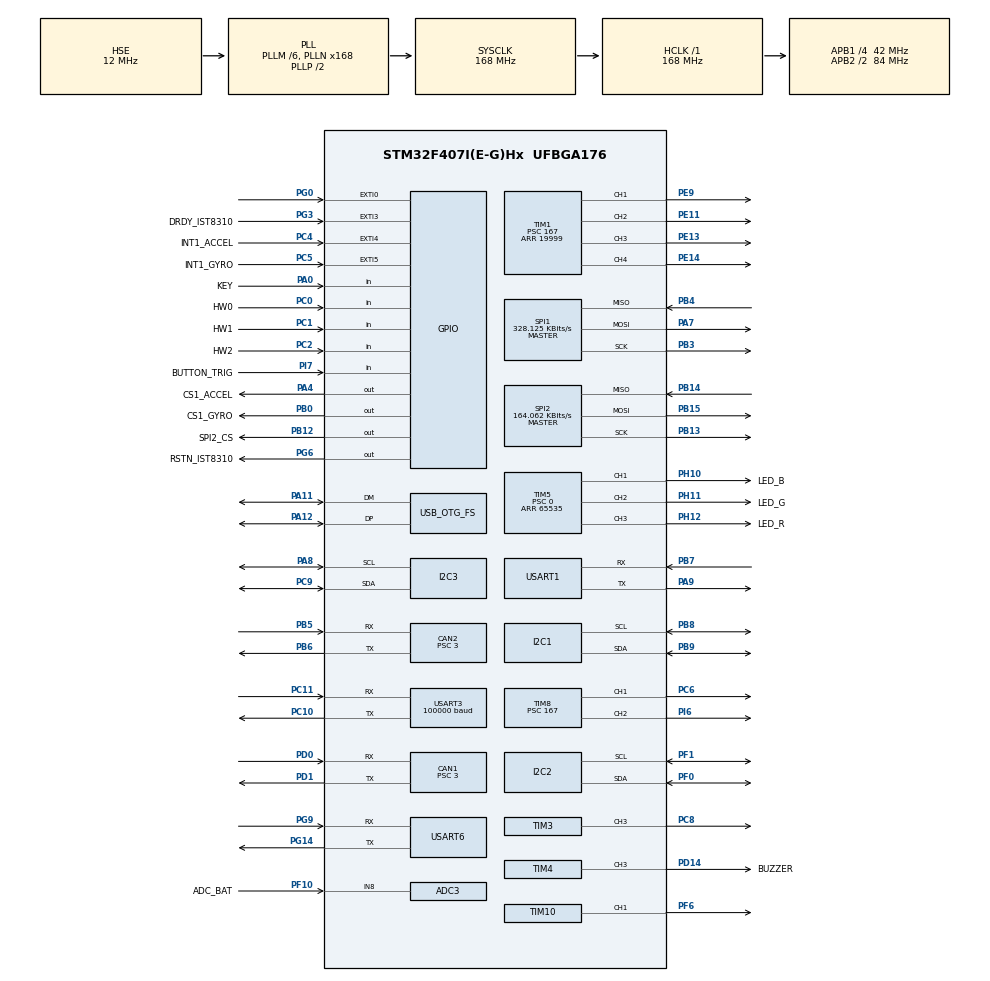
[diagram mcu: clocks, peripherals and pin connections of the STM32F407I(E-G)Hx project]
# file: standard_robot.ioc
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ADC1.Channel-0\#ChannelRegularConversion=ADC_CHANNEL_TEMPSENSOR
ADC1.ClockPrescaler=ADC_CLOCK_SYNC_PCLK_DIV6
ADC1.NbrOfConversionFlag=1
ADC1.Rank-0\#ChannelRegularConversion=1
ADC1.SamplingTime-0\#ChannelRegularConversion=ADC_SAMPLETIME_3CYCLES
ADC1.master=1
ADC3.Channel-0\#ChannelRegularConversion=ADC_CHANNEL_8
ADC3.ClockPrescaler=ADC_CLOCK_SYNC_PCLK_DIV6
ADC3.NbrOfConversionFlag=1
ADC3.Rank-0\#ChannelRegularConversion=1
ADC3.SamplingTime-0\#ChannelRegularConversion=ADC_SAMPLETIME_3CYCLES
CAN1.BS1=CAN_BS1_10TQ
CAN1.BS2=CAN_BS2_3TQ
CAN1.CalculateTimeQuantum=71.42857142857143
CAN1.Prescaler=3
CAN2.BS1=CAN_BS1_10TQ
CAN2.BS2=CAN_BS2_3TQ
CAN2.CalculateTimeQuantum=71.42857142857143
CAN2.Prescaler=3
Dma.I2C2_TX.2.Direction=DMA_MEMORY_TO_PERIPH
Dma.I2C2_TX.2.FIFOMode=DMA_FIFOMODE_DISABLE
Dma.I2C2_TX.2.Instance=DMA1_Stream7
Dma.I2C2_TX.2.MemDataAlignment=DMA_MDATAALIGN_BYTE
Dma.I2C2_TX.2.MemInc=DMA_MINC_ENABLE
Dma.I2C2_TX.2.Mode=DMA_NORMAL
Dma.I2C2_TX.2.PeriphDataAlignment=DMA_PDATAALIGN_BYTE
Dma.I2C2_TX.2.PeriphInc=DMA_PINC_DISABLE
Dma.I2C2_TX.2.Priority=DMA_PRIORITY_HIGH
Dma.Request0=SPI1_RX
Dma.Request1=SPI1_TX
Dma.Request2=I2C2_TX
Dma.Request3=USART3_RX
Dma.Request4=USART6_RX
Dma.Request5=USART6_TX
Dma.Request6=USART1_TX
Dma.Request7=USART1_RX
Dma.SPI1_RX.0.Direction=DMA_PERIPH_TO_MEMORY
Dma.SPI1_RX.0.FIFOMode=DMA_FIFOMODE_DISABLE
Dma.SPI1_RX.0.Instance=DMA2_Stream2
Dma.SPI1_RX.0.MemDataAlignment=DMA_MDATAALIGN_BYTE
Dma.SPI1_RX.0.MemInc=DMA_MINC_ENABLE
Dma.SPI1_RX.0.Mode=DMA_NORMAL
Dma.SPI1_RX.0.PeriphDataAlignment=DMA_PDATAALIGN_BYTE
Dma.SPI1_RX.0.PeriphInc=DMA_PINC_DISABLE
Dma.SPI1_RX.0.Priority=DMA_PRIORITY_VERY_HIGH
Dma.SPI1_TX.1.Direction=DMA_MEMORY_TO_PERIPH
Dma.SPI1_TX.1.FIFOMode=DMA_FIFOMODE_DISABLE
Dma.SPI1_TX.1.Instance=DMA2_Stream3
Dma.SPI1_TX.1.MemDataAlignment=DMA_MDATAALIGN_BYTE
Dma.SPI1_TX.1.MemInc=DMA_MINC_ENABLE
Dma.SPI1_TX.1.Mode=DMA_NORMAL
Dma.SPI1_TX.1.PeriphDataAlignment=DMA_PDATAALIGN_BYTE
Dma.SPI1_TX.1.PeriphInc=DMA_PINC_DISABLE
Dma.SPI1_TX.1.Priority=DMA_PRIORITY_HIGH
Dma.USART1_RX.7.Direction=DMA_PERIPH_TO_MEMORY
Dma.USART1_RX.7.FIFOMode=DMA_FIFOMODE_DISABLE
Dma.USART1_RX.7.Instance=DMA2_Stream5
Dma.USART1_RX.7.MemDataAlignment=DMA_MDATAALIGN_BYTE
Dma.USART1_RX.7.MemInc=DMA_MINC_ENABLE
Dma.USART1_RX.7.Mode=DMA_NORMAL
Dma.USART1_RX.7.PeriphDataAlignment=DMA_PDATAALIGN_BYTE
Dma.USART1_RX.7.PeriphInc=DMA_PINC_DISABLE
Dma.USART1_RX.7.Priority=DMA_PRIORITY_LOW
Dma.USART1_TX.6.Direction=DMA_MEMORY_TO_PERIPH
Dma.USART1_TX.6.FIFOMode=DMA_FIFOMODE_DISABLE
Dma.USART1_TX.6.Instance=DMA2_Stream7
Dma.USART1_TX.6.MemDataAlignment=DMA_MDATAALIGN_BYTE
Dma.USART1_TX.6.MemInc=DMA_MINC_ENABLE
Dma.USART1_TX.6.Mode=DMA_NORMAL
Dma.USART1_TX.6.PeriphDataAlignment=DMA_PDATAALIGN_BYTE
Dma.USART1_TX.6.PeriphInc=DMA_PINC_DISABLE
Dma.USART1_TX.6.Priority=DMA_PRIORITY_MEDIUM
Dma.USART3_RX.3.Direction=DMA_PERIPH_TO_MEMORY
Dma.USART3_RX.3.FIFOMode=DMA_FIFOMODE_DISABLE
Dma.USART3_RX.3.Instance=DMA1_Stream1
Dma.USART3_RX.3.MemDataAlignment=DMA_MDATAALIGN_BYTE
Dma.USART3_RX.3.MemInc=DMA_MINC_ENABLE
Dma.USART3_RX.3.Mode=DMA_NORMAL
Dma.USART3_RX.3.PeriphDataAlignment=DMA_PDATAALIGN_BYTE
Dma.USART3_RX.3.PeriphInc=DMA_PINC_DISABLE
Dma.USART3_RX.3.Priority=DMA_PRIORITY_HIGH
Dma.USART6_RX.4.Direction=DMA_PERIPH_TO_MEMORY
Dma.USART6_RX.4.FIFOMode=DMA_FIFOMODE_DISABLE
Dma.USART6_RX.4.Instance=DMA2_Stream1
Dma.USART6_RX.4.MemDataAlignment=DMA_MDATAALIGN_BYTE
Dma.USART6_RX.4.MemInc=DMA_MINC_ENABLE
Dma.USART6_RX.4.Mode=DMA_NORMAL
Dma.USART6_RX.4.PeriphDataAlignment=DMA_PDATAALIGN_BYTE
Dma.USART6_RX.4.PeriphInc=DMA_PINC_DISABLE
Dma.USART6_RX.4.Priority=DMA_PRIORITY_HIGH
Dma.USART6_TX.5.Direction=DMA_MEMORY_TO_PERIPH
Dma.USART6_TX.5.FIFOMode=DMA_FIFOMODE_DISABLE
Dma.USART6_TX.5.Instance=DMA2_Stream6
Dma.USART6_TX.5.MemDataAlignment=DMA_MDATAALIGN_BYTE
Dma.USART6_TX.5.MemInc=DMA_MINC_ENABLE
Dma.USART6_TX.5.Mode=DMA_NORMAL
Dma.USART6_TX.5.PeriphDataAlignment=DMA_PDATAALIGN_BYTE
Dma.USART6_TX.5.PeriphInc=DMA_PINC_DISABLE
Dma.USART6_TX.5.Priority=DMA_PRIORITY_MEDIUM
FREERTOS.INCLUDE_eTaskGetState=1
FREERTOS.INCLUDE_pcTaskGetTaskName=1
FREERTOS.INCLUDE_uxTaskGetStackHighWaterMark=1
FREERTOS.INCLUDE_vTaskCleanUpResources=1
FREERTOS.INCLUDE_vTaskDelayUntil=1
FREERTOS.INCLUDE_xEventGroupSetBitFromISR=1
FREERTOS.INCLUDE_xQueueGetMutexHolder=1
FREERTOS.INCLUDE_xSemaphoreGetMutexHolder=1
FREERTOS.INCLUDE_xTaskAbortDelay=1
FREERTOS.INCLUDE_xTaskGetCurrentTaskHandle=1
FREERTOS.INCLUDE_xTaskGetHandle=1
FREERTOS.INCLUDE_xTimerPendFunctionCall=1
FREERTOS.Tasks01=test,24,128,test_task,As weak,NULL,Dynamic,NULL,NULL
FREERTOS.configTOTAL_HEAP_SIZE=24576
I2C1.I2C_Mode=I2C_Fast
I2C2.I2C_Mode=I2C_Fast
I2C3.I2C_Mode=I2C_Fast
Mcu.Family=STM32F4
Mcu.Name=STM32F407I(E-G)Hx
Mcu.Package=UFBGA176
NVIC.CAN1_RX0_IRQn=true\:5\:0\:true\:false\:true\:true\:true\:true\:true
NVIC.CAN2_RX0_IRQn=true\:6\:0\:true\:false\:true\:true\:true\:true\:true
NVIC.DMA1_Stream1_IRQn=true\:5\:0\:true\:false\:false\:true\:false\:false\:true
NVIC.DMA1_Stream7_IRQn=true\:5\:0\:true\:false\:false\:true\:false\:true\:true
NVIC.DMA2_Stream1_IRQn=true\:5\:0\:true\:false\:true\:true\:false\:true\:true
NVIC.DMA2_Stream2_IRQn=true\:5\:0\:true\:false\:false\:true\:false\:true\:true
NVIC.DMA2_Stream3_IRQn=true\:5\:0\:true\:false\:false\:true\:false\:true\:true
NVIC.DMA2_Stream5_IRQn=true\:5\:0\:false\:false\:true\:true\:false\:true\:true
NVIC.DMA2_Stream6_IRQn=true\:5\:0\:true\:false\:true\:true\:false\:true\:true
NVIC.DMA2_Stream7_IRQn=true\:5\:0\:true\:false\:true\:true\:false\:true\:true
NVIC.EXTI0_IRQn=true\:6\:0\:true\:false\:true\:true\:true\:true\:true
NVIC.EXTI3_IRQn=true\:5\:0\:true\:false\:true\:true\:true\:true\:true
NVIC.EXTI4_IRQn=true\:5\:0\:true\:false\:true\:true\:true\:true\:true
NVIC.EXTI9_5_IRQn=true\:5\:0\:true\:false\:true\:true\:true\:true\:true
NVIC.OTG_FS_IRQn=true\:5\:0\:false\:false\:true\:true\:false\:true\:true
NVIC.PriorityGroup=NVIC_PRIORITYGROUP_4
NVIC.USART1_IRQn=true\:5\:0\:false\:false\:true\:true\:true\:true\:true
NVIC.USART3_IRQn=true\:4\:0\:true\:false\:false\:false\:true\:true\:true
NVIC.USART6_IRQn=true\:5\:0\:true\:false\:false\:true\:true\:true\:true
PA0-WKUP.GPIO_Label=KEY
PA0-WKUP.GPIO_PuPd=GPIO_PULLUP
PA0-WKUP.Signal=GPIO_Input
PA10.Signal=USB_OTG_FS_ID
PA11.Mode=Device_Only
PA11.Signal=USB_OTG_FS_DM
PA12.Mode=Device_Only
PA12.Signal=USB_OTG_FS_DP
PA13.Mode=Serial_Wire
PA13.Signal=SYS_JTMS-SWDIO
PA14.Mode=Serial_Wire
PA14.Signal=SYS_JTCK-SWCLK
PA4.GPIO_Label=CS1_ACCEL
PA4.GPIO_PuPd=GPIO_PULLUP
PA4.GPIO_Speed=GPIO_SPEED_FREQ_HIGH
PA4.PinState=GPIO_PIN_SET
PA4.Signal=GPIO_Output
PA7.GPIO_PuPd=GPIO_PULLUP
PA7.Mode=Full_Duplex_Master
PA7.Signal=SPI1_MOSI
PA8.Mode=I2C
PA8.Signal=I2C3_SCL
PA9.Mode=Asynchronous
PA9.Signal=USART1_TX
PB0.GPIO_Label=CS1_GYRO
PB0.GPIO_PuPd=GPIO_PULLUP
PB0.GPIO_Speed=GPIO_SPEED_FREQ_HIGH
PB0.PinState=GPIO_PIN_SET
PB0.Signal=GPIO_Output
PB12.GPIO_Label=SPI2_CS
PB12.GPIO_PuPd=GPIO_PULLUP
PB12.GPIO_Speed=GPIO_SPEED_FREQ_MEDIUM
PB12.PinState=GPIO_PIN_SET
PB12.Signal=GPIO_Output
PB13.GPIO_PuPd=GPIO_PULLUP
PB13.Mode=Full_Duplex_Master
PB13.Signal=SPI2_SCK
PB14.GPIO_PuPd=GPIO_PULLUP
PB14.Mode=Full_Duplex_Master
PB14.Signal=SPI2_MISO
PB15.GPIO_PuPd=GPIO_PULLUP
PB15.Mode=Full_Duplex_Master
PB15.Signal=SPI2_MOSI
PB3.GPIO_PuPd=GPIO_PULLUP
PB3.Mode=Full_Duplex_Master
PB3.Signal=SPI1_SCK
PB4.GPIO_PuPd=GPIO_PULLUP
PB4.Mode=Full_Duplex_Master
PB4.Signal=SPI1_MISO
PB5.Mode=Slave
PB5.Signal=CAN2_RX
PB6.Mode=Slave
PB6.Signal=CAN2_TX
PB7.Mode=Asynchronous
PB7.Signal=USART1_RX
PB8.Mode=I2C
PB8.Signal=I2C1_SCL
PB9.Mode=I2C
PB9.Signal=I2C1_SDA
PC0.GPIO_Label=HW0
PC0.Signal=GPIO_Input
PC1.GPIO_Label=HW1
PC1.Signal=GPIO_Input
PC10.Mode=Asynchronous
PC10.Signal=USART3_TX
PC11.Mode=Asynchronous
PC11.Signal=USART3_RX
PC2.GPIO_Label=HW2
PC2.Signal=GPIO_Input
PC4.GPIO_Label=INT1_ACCEL
PC4.GPIO_ModeDefaultEXTI=GPIO_MODE_IT_FALLING
PC4.GPIO_PuPd=GPIO_PULLUP
PC4.Signal=GPXTI4
PC5.GPIO_Label=INT1_GYRO
PC5.GPIO_ModeDefaultEXTI=GPIO_MODE_IT_FALLING
PC5.GPIO_PuPd=GPIO_PULLUP
PC5.Signal=GPXTI5
PC6.GPIO_PuPd=GPIO_PULLUP
PC6.GPIO_Speed=GPIO_SPEED_FREQ_HIGH
PC6.Signal=S_TIM8_CH1
PC8.GPIO_PuPd=GPIO_PULLUP
PC8.GPIO_Speed=GPIO_SPEED_FREQ_HIGH
PC8.Signal=S_TIM3_CH3
PC9.Mode=I2C
PC9.Signal=I2C3_SDA
PD0.Mode=Master
PD0.Signal=CAN1_RX
PD1.Mode=Master
PD1.Signal=CAN1_TX
PD14.GPIO_Label=BUZZER
PD14.GPIO_PuPd=GPIO_PULLUP
PD14.GPIO_Speed=GPIO_SPEED_FREQ_VERY_HIGH
PD14.Signal=S_TIM4_CH3
PE11.GPIO_PuPd=GPIO_PULLUP
PE11.GPIO_Speed=GPIO_SPEED_FREQ_HIGH
PE11.Signal=S_TIM1_CH2
PE13.GPIO_PuPd=GPIO_PULLUP
PE13.GPIO_Speed=GPIO_SPEED_FREQ_HIGH
PE13.Signal=S_TIM1_CH3
PE14.GPIO_PuPd=GPIO_PULLUP
PE14.GPIO_Speed=GPIO_SPEED_FREQ_HIGH
PE14.Signal=S_TIM1_CH4
PE9.GPIO_PuPd=GPIO_PULLUP
PE9.GPIO_Speed=GPIO_SPEED_FREQ_HIGH
PE9.Signal=S_TIM1_CH1
PF0.Mode=I2C
PF0.Signal=I2C2_SDA
PF1.Mode=I2C
PF1.Signal=I2C2_SCL
PF10.GPIO_Label=ADC_BAT
PF10.Mode=IN8
PF10.Signal=ADC3_IN8
PF6.GPIO_PuPd=GPIO_PULLUP
PF6.GPIO_Speed=GPIO_SPEED_FREQ_HIGH
PF6.Signal=S_TIM10_CH1
PG0.GPIO_ModeDefaultEXTI=GPIO_MODE_IT_FALLING
PG0.GPIO_PuPd=GPIO_PULLUP
PG0.Signal=GPXTI0
PG14.Mode=Asynchronous
PG14.Signal=USART6_TX
PG3.GPIO_Label=DRDY_IST8310
PG3.GPIO_ModeDefaultEXTI=GPIO_MODE_IT_FALLING
PG3.GPIO_PuPd=GPIO_PULLUP
PG3.Signal=GPXTI3
PG6.GPIO_Label=RSTN_IST8310
PG6.GPIO_PuPd=GPIO_PULLUP
PG6.GPIO_Speed=GPIO_SPEED_FREQ_MEDIUM
PG6.PinState=GPIO_PIN_SET
PG6.Signal=GPIO_Output
PG9.Mode=Asynchronous
PG9.Signal=USART6_RX
PH0-OSC_IN.Mode=HSE-External-Oscillator
PH0-OSC_IN.Signal=RCC_OSC_IN
PH1-OSC_OUT.Mode=HSE-External-Oscillator
PH1-OSC_OUT.Signal=RCC_OSC_OUT
PH10.GPIO_Label=LED_B
PH10.GPIO_PuPd=GPIO_PULLUP
PH10.GPIO_Speed=GPIO_SPEED_FREQ_HIGH
PH10.Signal=S_TIM5_CH1
PH11.GPIO_Label=LED_G
PH11.GPIO_PuPd=GPIO_PULLUP
PH11.GPIO_Speed=GPIO_SPEED_FREQ_HIGH
PH11.Signal=S_TIM5_CH2
PH12.GPIO_Label=LED_R
PH12.GPIO_PuPd=GPIO_PULLUP
PH12.GPIO_Speed=GPIO_SPEED_FREQ_HIGH
PH12.Signal=S_TIM5_CH3
PI6.GPIO_PuPd=GPIO_PULLUP
PI6.GPIO_Speed=GPIO_SPEED_FREQ_HIGH
PI6.Signal=S_TIM8_CH2
PI7.GPIO_Label=BUTTON_TRIG
PI7.GPIO_PuPd=GPIO_PULLUP
PI7.Signal=GPIO_Input
ProjectManager.HeapSize=0x2000
ProjectManager.StackSize=0x2000
ProjectManager.TargetToolchain=MDK-ARM V5
RCC.48MHZClocksFreq_Value=48000000
RCC.AHBFreq_Value=168000000
RCC.APB1CLKDivider=RCC_HCLK_DIV4
RCC.APB1Freq_Value=42000000
RCC.APB1TimFreq_Value=84000000
RCC.APB2CLKDivider=RCC_HCLK_DIV2
RCC.APB2Freq_Value=84000000
RCC.APB2TimFreq_Value=168000000
RCC.CortexFreq_Value=168000000
RCC.HCLKFreq_Value=168000000
RCC.HSE_VALUE=12000000
RCC.HSI_VALUE=16000000
RCC.LSE_VALUE=32768
RCC.PLLM=6
RCC.PLLN=168
RCC.PLLQ=7
RCC.RCC_RTC_Clock_SourceVirtual=RCC_RTCCLKSOURCE_HSE_DIV30
RCC.RCC_RTC_Clock_Source_FROM_HSE=RCC_RTCCLKSOURCE_HSE_DIV30
RCC.SYSCLKFreq_VALUE=168000000
RCC.SYSCLKSource=RCC_SYSCLKSOURCE_PLLCLK
RCC.VCOOutputFreq_Value=336000000
RTC.AsynchPrediv=124
RTC.SynchPrediv=3199
SH.S_TIM10_CH1.0=TIM10_CH1,PWM Generation1 CH1
SH.S_TIM1_CH1.0=TIM1_CH1,PWM Generation1 CH1
SH.S_TIM1_CH2.0=TIM1_CH2,PWM Generation2 CH2
SH.S_TIM1_CH3.0=TIM1_CH3,PWM Generation3 CH3
SH.S_TIM1_CH4.0=TIM1_CH4,PWM Generation4 CH4
SH.S_TIM3_CH3.0=TIM3_CH3,PWM Generation3 CH3
SH.S_TIM4_CH3.0=TIM4_CH3,PWM Generation3 CH3
SH.S_TIM5_CH1.0=TIM5_CH1,PWM Generation1 CH1
SH.S_TIM5_CH2.0=TIM5_CH2,PWM Generation2 CH2
SH.S_TIM5_CH3.0=TIM5_CH3,PWM Generation3 CH3
SH.S_TIM8_CH1.0=TIM8_CH1,PWM Generation1 CH1
SH.S_TIM8_CH2.0=TIM8_CH2,PWM Generation2 CH2
SPI1.BaudRatePrescaler=SPI_BAUDRATEPRESCALER_256
SPI1.CLKPhase=SPI_PHASE_2EDGE
SPI1.CLKPolarity=SPI_POLARITY_HIGH
SPI1.CalculateBaudRate=328.125 KBits/s
SPI1.Direction=SPI_DIRECTION_2LINES
SPI1.Mode=SPI_MODE_MASTER
SPI1.VirtualType=VM_MASTER
SPI2.BaudRatePrescaler=SPI_BAUDRATEPRESCALER_256
SPI2.CLKPhase=SPI_PHASE_2EDGE
SPI2.CLKPolarity=SPI_POLARITY_HIGH
SPI2.CalculateBaudRate=164.062 KBits/s
SPI2.Direction=SPI_DIRECTION_2LINES
SPI2.Mode=SPI_MODE_MASTER
SPI2.VirtualType=VM_MASTER
TIM1.Channel-PWM\ Generation1\ CH1=TIM_CHANNEL_1
TIM1.Channel-PWM\ Generation2\ CH2=TIM_CHANNEL_2
TIM1.Channel-PWM\ Generation3\ CH3=TIM_CHANNEL_3
TIM1.Channel-PWM\ Generation4\ CH4=TIM_CHANNEL_4
TIM1.Period=19999
TIM1.Prescaler=167
TIM1.Pulse-PWM\ Generation1\ CH1=1000
TIM1.Pulse-PWM\ Generation2\ CH2=1000
TIM1.Pulse-PWM\ Generation3\ CH3=1000
TIM1.Pulse-PWM\ Generation4\ CH4=1000
TIM10.Channel=TIM_CHANNEL_1
TIM10.Period=4999
TIM3.Channel-PWM\ Generation3\ CH3=TIM_CHANNEL_3
TIM3.Period=8399
TIM4.Channel-PWM\ Generation3\ CH3=TIM_CHANNEL_3
TIM4.Period=65535
TIM4.Prescaler=167
TIM5.Channel-PWM\ Generation1\ CH1=TIM_CHANNEL_1
TIM5.Channel-PWM\ Generation2\ CH2=TIM_CHANNEL_2
TIM5.Channel-PWM\ Generation3\ CH3=TIM_CHANNEL_3
TIM5.Period=65535
TIM5.Prescaler=0
TIM8.Channel-PWM\ Generation1\ CH1=TIM_CHANNEL_1
TIM8.Channel-PWM\ Generation2\ CH2=TIM_CHANNEL_2
TIM8.Period=19999
TIM8.Prescaler=167
TIM8.Pulse-PWM\ Generation1\ CH1=1000
TIM8.Pulse-PWM\ Generation2\ CH2=1000
USART1.VirtualMode=VM_ASYNC
USART3.BaudRate=100000
USART3.Parity=PARITY_EVEN
USART3.VirtualMode=VM_ASYNC
USART6.VirtualMode=VM_ASYNC
USB_DEVICE.CLASS_NAME_FS=CDC
USB_DEVICE.VirtualMode-CDC_FS=Cdc
USB_DEVICE.VirtualModeFS=Cdc_FS
USB_OTG_FS.VirtualMode=Device_Only
VP_ADC1_TempSens_Input.Mode=IN-TempSens
VP_ADC1_Vref_Input.Mode=IN-Vrefint
VP_CRC_VS_CRC.Mode=CRC_Activate
VP_FREERTOS_VS_CMSIS_V1.Mode=CMSIS_V1
VP_RNG_VS_RNG.Mode=RNG_Activate
VP_RTC_VS_RTC_Activate.Mode=RTC_Enabled
VP_TIM10_VS_ClockSourceINT.Mode=Enable_Timer
VP_TIM1_VS_ClockSourceINT.Mode=Internal
VP_TIM3_VS_ClockSourceINT.Mode=Internal
VP_TIM4_VS_ClockSourceINT.Mode=Internal
VP_TIM5_VS_ClockSourceINT.Mode=Internal
VP_TIM8_VS_ClockSourceINT.Mode=Internal
VP_USB_DEVICE_VS_USB_DEVICE_CDC_FS.Mode=CDC_FS
board=custom

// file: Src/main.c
/* USER CODE BEGIN Header */
/**
  ******************************************************************************
  * @file           : main.c
  * @brief          : Main program body
  ******************************************************************************
  * @attention
  *
  * <h2><center>&copy; Copyright (c) 2019 STMicroelectronics.
  * All rights reserved.</center></h2>
  *
  * This software component is licensed by ST under Ultimate Liberty license
  * SLA0044, the "License"; You may not use this file except in compliance with
  * the License. You may obtain a copy of the License at:
  *                             www.st.com/SLA0044
  *
  ******************************************************************************
  */
/* USER CODE END Header */

#include "main.h"
#include "cmsis_os.h"
#include "adc.h"
#include "can.h"
#include "crc.h"
#include "dma.h"
#include "i2c.h"
#include "rng.h"
#include "rtc.h"
#include "spi.h"
#include "tim.h"
#include "usart.h"
#include "usb_device.h"
#include "gpio.h"

/* USER CODE BEGIN Includes */
#include "bsp_can.h"
#include "bsp_delay.h"
#include "bsp_dwt.h"
#include "bsp_usart.h"
#include "remote_control.h"

#include "calibrate_task.h"
#include "chassis_task.h"
#include "detect_task.h"
#include "naive_gimbal_task.h"
#include "INS_task.h"
#include "led_flow_task.h"
#include "oled_task.h"
#include "referee_usart_task.h"
#include "usb_task.h"
#include "voltage_task.h"
#include "bsp_nucCom.h"
#include "nucCommu.h"
#include <stdarg.h>
/* USER CODE END Includes */

/* USER CODE BEGIN PV */
extern UART_HandleTypeDef huart6;
void usart_printf(const char *fmt,...)
{
    static uint8_t tx_buf[256] = {0};
    static va_list ap;
    static uint16_t len;
    va_start(ap, fmt);

    len = vsprintf((char *)tx_buf, fmt, ap);

    va_end(ap);

		HAL_UART_Transmit(&huart6, tx_buf, len, 100);
    usart1_tx_dma_enable(tx_buf, len);

}

/* USER CODE END PV */

void SystemClock_Config(void);
void MX_FREERTOS_Init(void);

int main(void)
{

  /* MCU Configuration--------------------------------------------------------*/

  /* Reset of all peripherals, Initializes the Flash interface and the Systick. */
  HAL_Init();

  /* Configure the system clock */
  SystemClock_Config();

  /* Initialize all configured peripherals */
  MX_GPIO_Init();
  MX_DMA_Init();
  MX_ADC1_Init();
  MX_ADC3_Init();
  MX_CAN1_Init();
  MX_CAN2_Init();
  MX_I2C1_Init();
  MX_SPI1_Init();
  MX_TIM4_Init();
  MX_TIM5_Init();
  MX_USART3_UART_Init();
  MX_TIM8_Init();
  MX_CRC_Init();
  MX_RNG_Init();
  MX_I2C2_Init();
  MX_I2C3_Init();
  MX_RTC_Init();
  MX_SPI2_Init();
  MX_TIM1_Init();
  MX_TIM3_Init();
  MX_TIM10_Init();
  MX_USART1_UART_Init();
  MX_USART6_UART_Init();
  /* USER CODE BEGIN 2 */
//	MX_USB_DEVICE_Init();
	DWT_Init(168);
  while (BMI088_init(&hspi1, 1) != BMI088_NO_ERROR)
      ;
    can_filter_init();
    delay_init();
//    cali_param_init();
    remote_control_init();
    usart1_tx_dma_init();
    nuc_control_init();

  /* USER CODE END 2 */

  /* Call init function for freertos objects (in freertos.c) */
  MX_FREERTOS_Init();

  /* Start scheduler */
  osKernelStart();

  /* We should never get here as control is now taken by the scheduler */

  /* Infinite loop */
  while (1)
  {

  }
}

void SystemClock_Config(void)
{
  RCC_OscInitTypeDef RCC_OscInitStruct = {0};
  RCC_ClkInitTypeDef RCC_ClkInitStruct = {0};
  RCC_PeriphCLKInitTypeDef PeriphClkInitStruct = {0};

  /** Configure the main internal regulator output voltage
  */
  __HAL_RCC_PWR_CLK_ENABLE();
  __HAL_PWR_VOLTAGESCALING_CONFIG(PWR_REGULATOR_VOLTAGE_SCALE1);
  /** Initializes the CPU, AHB and APB busses clocks
  */
  RCC_OscInitStruct.OscillatorType = RCC_OSCILLATORTYPE_HSE;
  RCC_OscInitStruct.HSEState = RCC_HSE_ON;
  RCC_OscInitStruct.PLL.PLLState = RCC_PLL_ON;
  RCC_OscInitStruct.PLL.PLLSource = RCC_PLLSOURCE_HSE;
  RCC_OscInitStruct.PLL.PLLM = 6;
  RCC_OscInitStruct.PLL.PLLN = 168;
  RCC_OscInitStruct.PLL.PLLP = RCC_PLLP_DIV2;
  RCC_OscInitStruct.PLL.PLLQ = 7;
  if (HAL_RCC_OscConfig(&RCC_OscInitStruct) != HAL_OK)
  {
    Error_Handler();
  }
  /** Initializes the CPU, AHB and APB busses clocks
  */
  RCC_ClkInitStruct.ClockType = RCC_CLOCKTYPE_HCLK|RCC_CLOCKTYPE_SYSCLK
                              |RCC_CLOCKTYPE_PCLK1|RCC_CLOCKTYPE_PCLK2;
  RCC_ClkInitStruct.SYSCLKSource = RCC_SYSCLKSOURCE_PLLCLK;
  RCC_ClkInitStruct.AHBCLKDivider = RCC_SYSCLK_DIV1;
  RCC_ClkInitStruct.APB1CLKDivider = RCC_HCLK_DIV4;
  RCC_ClkInitStruct.APB2CLKDivider = RCC_HCLK_DIV2;

  if (HAL_RCC_ClockConfig(&RCC_ClkInitStruct, FLASH_LATENCY_5) != HAL_OK)
  {
    Error_Handler();
  }
  PeriphClkInitStruct.PeriphClockSelection = RCC_PERIPHCLK_RTC;
  PeriphClkInitStruct.RTCClockSelection = RCC_RTCCLKSOURCE_HSE_DIV30;
  if (HAL_RCCEx_PeriphCLKConfig(&PeriphClkInitStruct) != HAL_OK)
  {
    Error_Handler();
  }
}

void Error_Handler(void)
{
}

/************************ (C) COPYRIGHT STMicroelectronics *****END OF FILE****/
